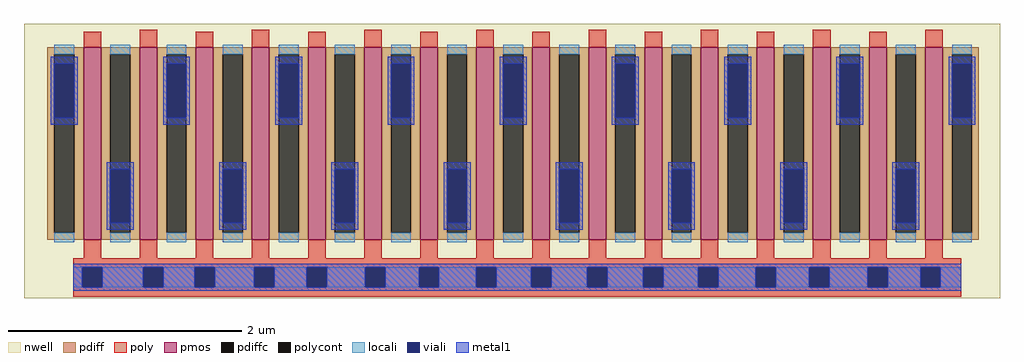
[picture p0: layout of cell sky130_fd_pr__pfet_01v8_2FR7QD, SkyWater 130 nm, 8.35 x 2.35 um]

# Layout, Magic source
magic
tech sky130A
magscale 1 2
<< nwell >>
rect -837 -265 833 205
<< pmos >>
rect -735 -165 -705 165
rect -639 -165 -609 165
rect -543 -165 -513 165
rect -447 -165 -417 165
rect -351 -165 -321 165
rect -255 -165 -225 165
rect -159 -165 -129 165
rect -63 -165 -33 165
rect 33 -165 63 165
rect 129 -165 159 165
rect 225 -165 255 165
rect 321 -165 351 165
rect 417 -165 447 165
rect 513 -165 543 165
rect 609 -165 639 165
rect 705 -165 735 165
<< pdiff >>
rect -797 153 -735 165
rect -797 -153 -785 153
rect -751 -153 -735 153
rect -797 -165 -735 -153
rect -705 153 -639 165
rect -705 -153 -689 153
rect -655 -153 -639 153
rect -705 -165 -639 -153
rect -609 153 -543 165
rect -609 -153 -593 153
rect -559 -153 -543 153
rect -609 -165 -543 -153
rect -513 153 -447 165
rect -513 -153 -497 153
rect -463 -153 -447 153
rect -513 -165 -447 -153
rect -417 153 -351 165
rect -417 -153 -401 153
rect -367 -153 -351 153
rect -417 -165 -351 -153
rect -321 153 -255 165
rect -321 -153 -305 153
rect -271 -153 -255 153
rect -321 -165 -255 -153
rect -225 153 -159 165
rect -225 -153 -209 153
rect -175 -153 -159 153
rect -225 -165 -159 -153
rect -129 153 -63 165
rect -129 -153 -113 153
rect -79 -153 -63 153
rect -129 -165 -63 -153
rect -33 153 33 165
rect -33 -153 -17 153
rect 17 -153 33 153
rect -33 -165 33 -153
rect 63 153 129 165
rect 63 -153 79 153
rect 113 -153 129 153
rect 63 -165 129 -153
rect 159 153 225 165
rect 159 -153 175 153
rect 209 -153 225 153
rect 159 -165 225 -153
rect 255 153 321 165
rect 255 -153 271 153
rect 305 -153 321 153
rect 255 -165 321 -153
rect 351 153 417 165
rect 351 -153 367 153
rect 401 -153 417 153
rect 351 -165 417 -153
rect 447 153 513 165
rect 447 -153 463 153
rect 497 -153 513 153
rect 447 -165 513 -153
rect 543 153 609 165
rect 543 -153 559 153
rect 593 -153 609 153
rect 543 -165 609 -153
rect 639 153 705 165
rect 639 -153 655 153
rect 689 -153 705 153
rect 639 -165 705 -153
rect 735 153 797 165
rect 735 -153 751 153
rect 785 -153 797 153
rect 735 -165 797 -153
<< pdiffc >>
rect -785 -153 -751 153
rect -689 -153 -655 153
rect -593 -153 -559 153
rect -497 -153 -463 153
rect -401 -153 -367 153
rect -305 -153 -271 153
rect -209 -153 -175 153
rect -113 -153 -79 153
rect -17 -153 17 153
rect 79 -153 113 153
rect 175 -153 209 153
rect 271 -153 305 153
rect 367 -153 401 153
rect 463 -153 497 153
rect 559 -153 593 153
rect 655 -153 689 153
rect 751 -153 785 153
<< poly >>
rect -735 165 -705 191
rect -639 165 -609 195
rect -543 165 -513 191
rect -447 165 -417 195
rect -351 165 -321 191
rect -255 165 -225 195
rect -159 165 -129 191
rect -63 165 -33 195
rect 33 165 63 191
rect 129 165 159 195
rect 225 165 255 191
rect 321 165 351 195
rect 417 165 447 191
rect 513 165 543 195
rect 609 165 639 191
rect 705 165 735 195
rect -735 -196 -705 -165
rect -639 -196 -609 -165
rect -543 -196 -513 -165
rect -447 -196 -417 -165
rect -351 -196 -321 -165
rect -255 -196 -225 -165
rect -159 -196 -129 -165
rect -63 -196 -33 -165
rect 33 -196 63 -165
rect 129 -196 159 -165
rect 225 -196 255 -165
rect 321 -196 351 -165
rect 417 -196 447 -165
rect 513 -196 543 -165
rect 609 -196 639 -165
rect 705 -196 735 -165
rect -753 -212 767 -196
rect -753 -246 -737 -212
rect -703 -246 -633 -212
rect -599 -246 -545 -212
rect -511 -246 -443 -212
rect -409 -246 -353 -212
rect -319 -246 -253 -212
rect -219 -246 -161 -212
rect -127 -246 -63 -212
rect -29 -246 31 -212
rect 65 -246 127 -212
rect 161 -246 223 -212
rect 257 -246 317 -212
rect 351 -246 415 -212
rect 449 -246 507 -212
rect 541 -246 607 -212
rect 641 -246 697 -212
rect 731 -246 767 -212
rect -753 -262 767 -246
<< polycont >>
rect -737 -246 -703 -212
rect -633 -246 -599 -212
rect -545 -246 -511 -212
rect -443 -246 -409 -212
rect -353 -246 -319 -212
rect -253 -246 -219 -212
rect -161 -246 -127 -212
rect -63 -246 -29 -212
rect 31 -246 65 -212
rect 127 -246 161 -212
rect 223 -246 257 -212
rect 317 -246 351 -212
rect 415 -246 449 -212
rect 507 -246 541 -212
rect 607 -246 641 -212
rect 697 -246 731 -212
<< locali >>
rect -785 153 -751 169
rect -785 -169 -751 -153
rect -689 153 -655 169
rect -689 -169 -655 -153
rect -593 153 -559 169
rect -593 -169 -559 -153
rect -497 153 -463 169
rect -497 -169 -463 -153
rect -401 153 -367 169
rect -401 -169 -367 -153
rect -305 153 -271 169
rect -305 -169 -271 -153
rect -209 153 -175 169
rect -209 -169 -175 -153
rect -113 153 -79 169
rect -113 -169 -79 -153
rect -17 153 17 169
rect -17 -169 17 -153
rect 79 153 113 169
rect 79 -169 113 -153
rect 175 153 209 169
rect 175 -169 209 -153
rect 271 153 305 169
rect 271 -169 305 -153
rect 367 153 401 169
rect 367 -169 401 -153
rect 463 153 497 169
rect 463 -169 497 -153
rect 559 153 593 169
rect 559 -169 593 -153
rect 655 153 689 169
rect 655 -169 689 -153
rect 751 153 785 169
rect 751 -169 785 -153
rect -753 -246 -737 -212
rect -703 -246 -633 -212
rect -599 -246 -545 -212
rect -511 -246 -443 -212
rect -409 -246 -353 -212
rect -319 -246 -253 -212
rect -219 -246 -161 -212
rect -127 -246 -63 -212
rect -29 -246 31 -212
rect 65 -246 127 -212
rect 161 -246 223 -212
rect 257 -246 317 -212
rect 351 -246 415 -212
rect 449 -246 507 -212
rect 541 -246 607 -212
rect 641 -246 697 -212
rect 731 -246 767 -212
<< viali >>
rect -785 44 -751 136
rect -689 -136 -655 -44
rect -593 44 -559 136
rect -497 -136 -463 -44
rect -401 44 -367 136
rect -305 -136 -271 -44
rect -209 44 -175 136
rect -113 -136 -79 -44
rect -17 44 17 136
rect 79 -136 113 -44
rect 175 44 209 136
rect 271 -136 305 -44
rect 367 44 401 136
rect 463 -136 497 -44
rect 559 44 593 136
rect 655 -136 689 -44
rect 751 44 785 136
rect -737 -246 -703 -212
rect -633 -246 -599 -212
rect -545 -246 -511 -212
rect -443 -246 -409 -212
rect -353 -246 -319 -212
rect -253 -246 -219 -212
rect -161 -246 -127 -212
rect -63 -246 -29 -212
rect 31 -246 65 -212
rect 127 -246 161 -212
rect 223 -246 257 -212
rect 317 -246 351 -212
rect 415 -246 449 -212
rect 507 -246 541 -212
rect 607 -246 641 -212
rect 697 -246 731 -212
<< metal1 >>
rect -791 136 -745 148
rect -791 44 -785 136
rect -751 44 -745 136
rect -791 32 -745 44
rect -599 136 -553 148
rect -599 44 -593 136
rect -559 44 -553 136
rect -599 32 -553 44
rect -407 136 -361 148
rect -407 44 -401 136
rect -367 44 -361 136
rect -407 32 -361 44
rect -215 136 -169 148
rect -215 44 -209 136
rect -175 44 -169 136
rect -215 32 -169 44
rect -23 136 23 148
rect -23 44 -17 136
rect 17 44 23 136
rect -23 32 23 44
rect 169 136 215 148
rect 169 44 175 136
rect 209 44 215 136
rect 169 32 215 44
rect 361 136 407 148
rect 361 44 367 136
rect 401 44 407 136
rect 361 32 407 44
rect 553 136 599 148
rect 553 44 559 136
rect 593 44 599 136
rect 553 32 599 44
rect 745 136 791 148
rect 745 44 751 136
rect 785 44 791 136
rect 745 32 791 44
rect -695 -44 -649 -32
rect -695 -136 -689 -44
rect -655 -136 -649 -44
rect -695 -148 -649 -136
rect -503 -44 -457 -32
rect -503 -136 -497 -44
rect -463 -136 -457 -44
rect -503 -148 -457 -136
rect -311 -44 -265 -32
rect -311 -136 -305 -44
rect -271 -136 -265 -44
rect -311 -148 -265 -136
rect -119 -44 -73 -32
rect -119 -136 -113 -44
rect -79 -136 -73 -44
rect -119 -148 -73 -136
rect 73 -44 119 -32
rect 73 -136 79 -44
rect 113 -136 119 -44
rect 73 -148 119 -136
rect 265 -44 311 -32
rect 265 -136 271 -44
rect 305 -136 311 -44
rect 265 -148 311 -136
rect 457 -44 503 -32
rect 457 -136 463 -44
rect 497 -136 503 -44
rect 457 -148 503 -136
rect 649 -44 695 -32
rect 649 -136 655 -44
rect 689 -136 695 -44
rect 649 -148 695 -136
rect -753 -212 767 -206
rect -753 -246 -737 -212
rect -703 -246 -633 -212
rect -599 -246 -545 -212
rect -511 -246 -443 -212
rect -409 -246 -353 -212
rect -319 -246 -253 -212
rect -219 -246 -161 -212
rect -127 -246 -63 -212
rect -29 -246 31 -212
rect 65 -246 127 -212
rect 161 -246 223 -212
rect 257 -246 317 -212
rect 351 -246 415 -212
rect 449 -246 507 -212
rect 541 -246 607 -212
rect 641 -246 697 -212
rect 731 -246 767 -212
rect -753 -252 767 -246
<< properties >>
string gencell sky130_fd_pr__pfet_01v8
string library sky130
string parameters w 1.65 l 0.15 m 1 nf 16 diffcov 100 polycov 100 guard 0 glc 1 grc 1 gtc 1 gbc 1 tbcov 100 rlcov 100 topc 1 botc 1 poverlap 0 doverlap 1 lmin 0.15 wmin 0.42 compatible {sky130_fd_pr__pfet_01v8  sky130_fd_pr__pfet_01v8_lvt sky130_fd_pr__pfet_01v8_hvt  sky130_fd_pr__pfet_g5v0d10v5} full_metal 0 viasrc +30 viadrn -30 viagate 100 viagb 0 viagr 0 viagl 0 viagt 0
<< end >>
